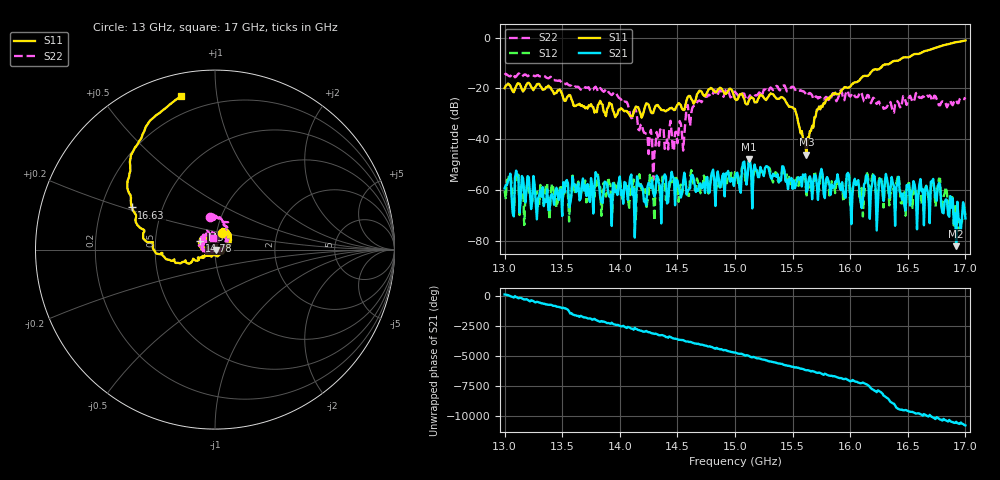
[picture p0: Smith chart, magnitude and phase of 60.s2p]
!Keysight Technologies,P9374A,MY57211807,A.19.30.04
!Date: Friday, May 01, 2026 14:16:22
!Correction: S11(C  2-Port  )
!S21(C  2-Port  )
!S12(C  2-Port  )
!S22(C  2-Port  )
!S2P File: Measurements: S11, S21, S12, S22:
# Hz S  RI  R 50
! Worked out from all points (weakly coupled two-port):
!   401 points, 13 GHz to 17 GHz, reference 50 ohm
!   highest |S21| = -47.92 dB at 15.12 GHz (marker M1); lowest = -82.1 dB at 16.92 GHz (marker M2)
!   lowest |S11| = -46.1 dB at 15.62 GHz (marker M3), VSWR 1.01, Z = 50.5 - j0.124 ohm
!   |S11| at or under -10 dB: start of sweep to 16.35 GHz
!   |S22| runs from -56.1 to -14.2 dB; largest |S21 - S12| = 0.0012
!   S11 on the Smith chart (normalised r, x): 13 GHz: 1.06, +0.20; 14.78 GHz: 0.84, +0.08; 16.63 GHz: 0.33, +0.21; 17 GHz: 0.11, +0.80
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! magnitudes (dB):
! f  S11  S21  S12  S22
! 13 GHz  -19.9  -59.4  -60.2  -14.7
! 13.04 GHz  -18.6  -55.3  -54.1  -15.2
! 13.15 GHz  -20.4  -54.5  -56.5  -15.4
! 13.37 GHz  -19.4  -59.8  -57.6  -15.9
! 13.53 GHz  -24.9  -56.8  -56.8  -18.4
! 13.67 GHz  -26.6  -58.2  -58.8  -20.7
! 13.97 GHz  -30.6  -60.1  -58.3  -22.1
! 14.29 GHz  -29.7  -60.9  -61.4  -56.1
! 14.34 GHz  -27.3  -57.4  -56.3  -42.6
! 14.48 GHz  -28.5  -66.0  -57.6  -37.3
! 14.78 GHz  -20.2  -61.0  -58.7  -22.7
! 15 GHz  -24.2  -55.6  -53.0  -21.4
! 15.12 GHz  -24.8  -47.9  -48.8  -23.6
! 15.42 GHz  -23.8  -50.8  -52.4  -18.9
! 15.62 GHz  -46.1  -60.8  -63.0  -22.6
! 15.67 GHz  -34.8  -63.6  -62.0  -22.8
! 15.85 GHz  -22.1  -59.0  -57.8  -21.9
! 16.34 GHz  -10.3  -63.1  -66.1  -25.2
! 16.63 GHz  -5.7  -59.6  -62.9  -23.1
! 16.77 GHz  -3.7  -57.2  -55.6  -26.7
! 16.92 GHz  -1.8  -82.1  -79.8  -24.6
! 17 GHz  -1.2  -71.2  -69.8  -23.6
